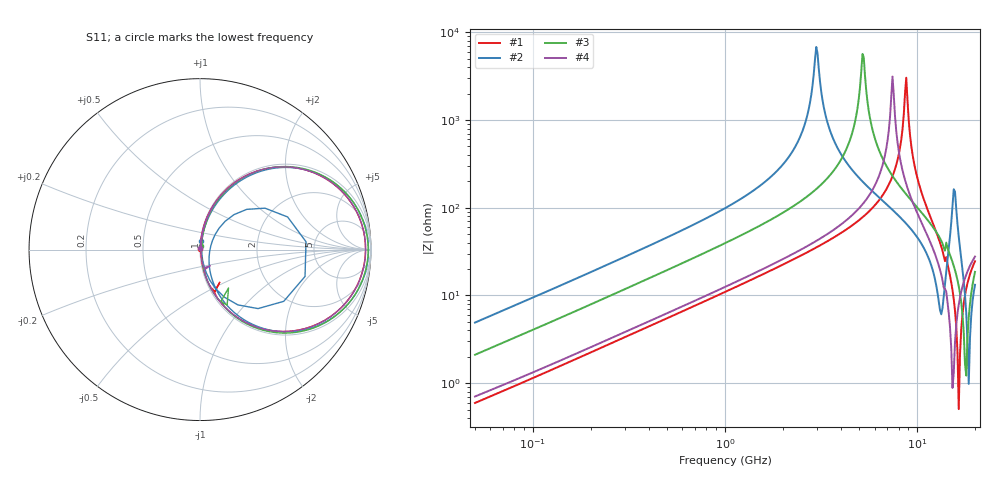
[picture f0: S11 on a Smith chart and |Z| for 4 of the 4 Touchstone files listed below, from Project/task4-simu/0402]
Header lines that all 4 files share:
!These Parameters are Measured in Series Mode Connection
!  o--[Z]--o
!Port1  Port2
!  o-------o
!Freq. Start=50[MHz] Stop=20[GHz], 401[Steps]
# Hz S RI R 50
!Freq.(Hz) S11(Real) S11(Imag) S21(Real) S21(Imag) S12(Real) S12(Imag) S22(Real) S22(Imag)
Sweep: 50 MHz to 20 GHz
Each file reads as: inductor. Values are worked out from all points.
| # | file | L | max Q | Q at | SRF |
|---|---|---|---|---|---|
| 1 | 0402_1.6.s2p | 1.86 nH | 56.6 | 2.531 GHz | 8.645 GHz |
| 2 | 0402_5.6.s2p | 15.3 nH | 25.8 | 1.127 GHz | 2.985 GHz |
| 3 | 0402_6.2.s2p | 6.58 nH | 35.9 | 1.767 GHz | 5.195 GHz |
| 4 | 0402_12.s2p | 2.16 nH | 46.3 | 2.687 GHz | 7.442 GHz |
